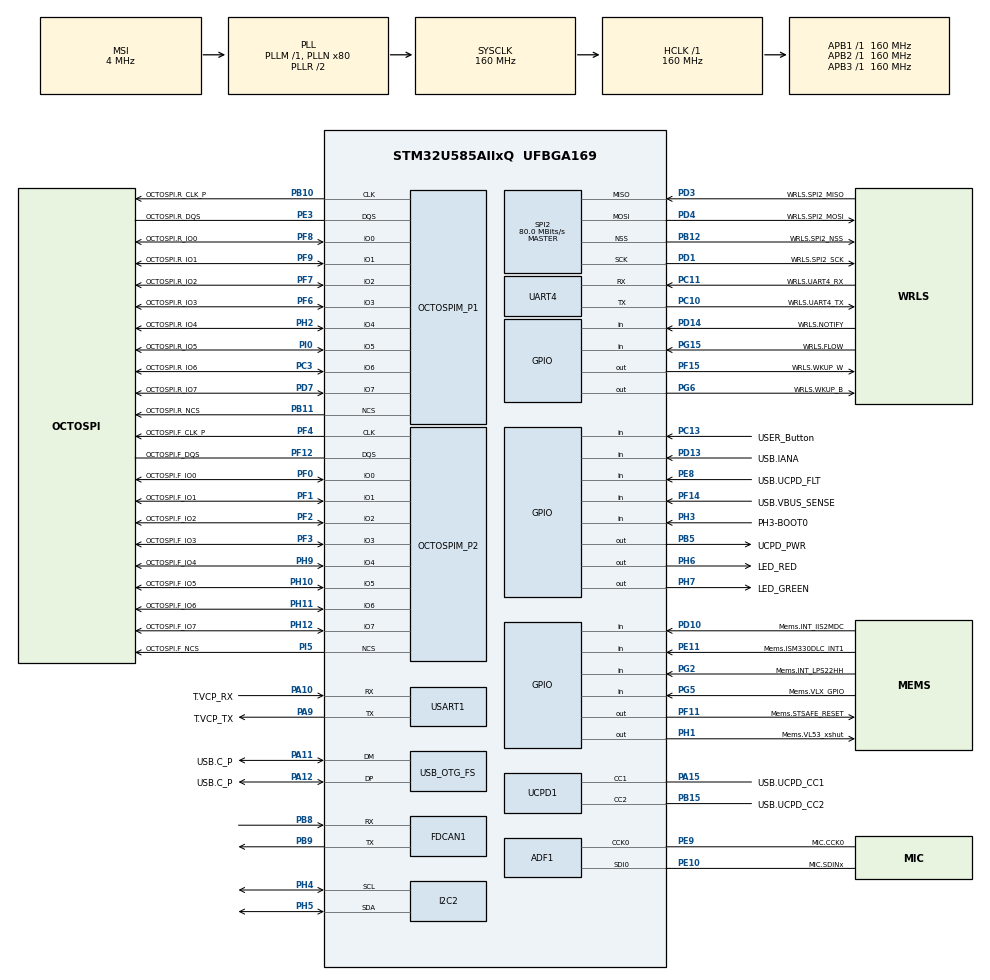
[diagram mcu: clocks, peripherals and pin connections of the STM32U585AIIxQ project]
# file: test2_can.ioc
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CORTEX_M33_NS.userName=CORTEX_M33
FDCAN1.AutoRetransmission=ENABLE
FDCAN1.CalculateBaudRateNominal=3333333
FDCAN1.CalculateTimeBitNominal=300
FDCAN1.CalculateTimeQuantumNominal=100.0
FDCAN1.FrameFormat=FDCAN_FRAME_CLASSIC
I2C2.Timing=0x30909DEC
Mcu.Family=STM32U5
Mcu.Name=STM32U585AIIxQ
Mcu.Package=UFBGA169
NVIC.PriorityGroup=NVIC_PRIORITYGROUP_4
OCTOSPI1.ChipSelectBoundary=10
OCTOSPI1.ClockPrescaler=2
OCTOSPI1.DelayBlockBypass=HAL_OSPI_DELAY_BLOCK_USED
OCTOSPI1.DelayHoldQuarterCycle=HAL_OSPI_DHQC_ENABLE
OCTOSPI1.DeviceSize=23
OCTOSPI1.MemoryType=HAL_OSPI_MEMTYPE_APMEMORY
OCTOSPI1.Refresh=100
OCTOSPI2.ChipSelectBoundary=0
OCTOSPI2.ChipSelectHighTime=2
OCTOSPI2.ClockPrescaler=4
OCTOSPI2.DelayBlockBypass=HAL_OSPI_DELAY_BLOCK_USED
OCTOSPI2.DelayHoldQuarterCycle=HAL_OSPI_DHQC_ENABLE
OCTOSPI2.DeviceSize=26
OCTOSPI2.FifoThreshold=4
OCTOSPI2.MemoryType=HAL_OSPI_MEMTYPE_MACRONIX
PA10.GPIO_Label=T.VCP_RX
PA10.Mode=Asynchronous
PA10.Signal=USART1_RX
PA11.GPIO_Label=USB.C_P
PA11.Mode=Device_Only
PA11.Signal=USB_OTG_FS_DM
PA12.GPIO_Label=USB.C_P
PA12.Mode=Device_Only
PA12.Signal=USB_OTG_FS_DP
PA13\ (JTMS/SWDIO).GPIO_Label=T.SWDIO
PA13\ (JTMS/SWDIO).Mode=Trace_Asynchronous_SW
PA13\ (JTMS/SWDIO).Signal=DEBUG_JTMS-SWDIO
PA14\ (JTCK/SWCLK).GPIO_Label=T.SWCLK
PA14\ (JTCK/SWCLK).Mode=Trace_Asynchronous_SW
PA14\ (JTCK/SWCLK).Signal=DEBUG_JTCK-SWCLK
PA15\ (JTDI).GPIO_Label=USB.UCPD_CC1
PA15\ (JTDI).Mode=Dual_Role_AllSignals
PA15\ (JTDI).Signal=UCPD1_CC1
PA9.GPIO_Label=T.VCP_TX
PA9.Mode=Asynchronous
PA9.Signal=USART1_TX
PB1.GPIO_Label=MIC.SDIN0
PB1.Signal=MDF1_SDI0
PB10.GPIO_Label=OCTOSPI.R_CLK_P
PB10.Mode=O1_P1_CLK
PB10.Signal=OCTOSPIM_P1_CLK
PB11.GPIO_Label=OCTOSPI.R_NCS
PB11.Mode=OCTOSPI1_Port1_NCS
PB11.Signal=OCTOSPIM_P1_NCS
PB12.GPIO_Label=WRLS.SPI2_NSS
PB12.Mode=NSS_Signal_Hard_Output
PB12.Signal=SPI2_NSS
PB15.GPIO_Label=USB.UCPD_CC2
PB15.Mode=Dual_Role_AllSignals
PB15.Signal=UCPD1_CC2
PB3\ (JTDO/TRACESWO).GPIO_Label=T.SWO
PB3\ (JTDO/TRACESWO).Mode=Trace_Asynchronous_SW
PB3\ (JTDO/TRACESWO).Signal=DEBUG_JTDO-SWO
PB5.GPIO_Label=UCPD_PWR
PB5.Signal=GPIO_Output
PB8.Mode=FDCAN_Activate
PB8.Signal=FDCAN1_RX
PB9.Mode=FDCAN_Activate
PB9.Signal=FDCAN1_TX
PC10.GPIO_Label=WRLS.UART4_TX
PC10.Mode=Asynchronous
PC10.Signal=UART4_TX
PC11.GPIO_Label=WRLS.UART4_RX
PC11.Mode=Asynchronous
PC11.Signal=UART4_RX
PC13.GPIO_Label=USER_Button
PC13.Signal=GPIO_Input
PC14-OSC32_IN\ (PC14).GPIO_Label=PC14-OSC32_IN
PC14-OSC32_IN\ (PC14).Mode=LSE-External-Oscillator
PC14-OSC32_IN\ (PC14).Signal=RCC_OSC32_IN
PC15-OSC32_OUT\ (PC15).GPIO_Label=PC15-OSC32_OUT
PC15-OSC32_OUT\ (PC15).Mode=LSE-External-Oscillator
PC15-OSC32_OUT\ (PC15).Signal=RCC_OSC32_OUT
PC3.GPIO_Label=OCTOSPI.R_IO6
PC3.Mode=OCTOSPI1_IOH_Port1H
PC3.Signal=OCTOSPIM_P1_IO6
PD1.GPIO_Label=WRLS.SPI2_SCK
PD1.Mode=Full_Duplex_Master
PD1.Signal=SPI2_SCK
PD10.GPIO_Label=Mems.INT_IIS2MDC
PD10.Signal=GPIO_Input
PD13.GPIO_Label=USB.IANA
PD13.Signal=GPIO_Input
PD14.GPIO_Label=WRLS.NOTIFY
PD14.Signal=GPIO_Input
PD3.GPIO_Label=WRLS.SPI2_MISO
PD3.Mode=Full_Duplex_Master
PD3.Signal=SPI2_MISO
PD4.GPIO_Label=WRLS.SPI2_MOSI
PD4.Mode=Full_Duplex_Master
PD4.Signal=SPI2_MOSI
PD7.GPIO_Label=OCTOSPI.R_IO7
PD7.Mode=OCTOSPI1_IOH_Port1H
PD7.Signal=OCTOSPIM_P1_IO7
PE10.GPIO_Label=MIC.SDINx
PE10.Mode=MOD_ADF_CCK
PE10.Signal=ADF1_SDI0
PE11.GPIO_Label=Mems.ISM330DLC_INT1
PE11.Signal=GPIO_Input
PE3.GPIO_Label=OCTOSPI.R_DQS
PE3.Mode=OCTOSPI1_Port1_DQS
PE3.Signal=OCTOSPIM_P1_DQS
PE8.GPIO_Label=USB.UCPD_FLT
PE8.Signal=GPIO_Input
PE9.GPIO_Label=MIC.CCK0
PE9.Mode=MOD_MDF_CCK0
PE9.Signal=ADF1_CCK0
PF0.GPIO_Label=OCTOSPI.F_IO0
PF0.Mode=OCTOSPI2_IOL_Port2L
PF0.Signal=OCTOSPIM_P2_IO0
PF1.GPIO_Label=OCTOSPI.F_IO1
PF1.Mode=OCTOSPI2_IOL_Port2L
PF1.Signal=OCTOSPIM_P2_IO1
PF10.GPIO_Label=MIC.CCK1
PF10.Signal=MDF1_CCK1
PF11.GPIO_Label=Mems.STSAFE_RESET
PF11.Signal=GPIO_Output
PF12.GPIO_Label=OCTOSPI.F_DQS
PF12.Mode=OCTOSPI2_Port2_DQS
PF12.Signal=OCTOSPIM_P2_DQS
PF14.GPIO_Label=USB.VBUS_SENSE
PF14.Signal=GPIO_Input
PF15.GPIO_Label=WRLS.WKUP_W
PF15.Signal=GPIO_Output
PF2.GPIO_Label=OCTOSPI.F_IO2
PF2.Mode=OCTOSPI2_IOL_Port2L
PF2.Signal=OCTOSPIM_P2_IO2
PF3.GPIO_Label=OCTOSPI.F_IO3
PF3.Mode=OCTOSPI2_IOL_Port2L
PF3.Signal=OCTOSPIM_P2_IO3
PF4.GPIO_Label=OCTOSPI.F_CLK_P
PF4.Mode=O2_P2_CLK
PF4.Signal=OCTOSPIM_P2_CLK
PF6.GPIO_Label=OCTOSPI.R_IO3
PF6.Mode=OCTOSPI1_IOL_Port1L
PF6.Signal=OCTOSPIM_P1_IO3
PF7.GPIO_Label=OCTOSPI.R_IO2
PF7.Mode=OCTOSPI1_IOL_Port1L
PF7.Signal=OCTOSPIM_P1_IO2
PF8.GPIO_Label=OCTOSPI.R_IO0
PF8.Mode=OCTOSPI1_IOL_Port1L
PF8.Signal=OCTOSPIM_P1_IO0
PF9.GPIO_Label=OCTOSPI.R_IO1
PF9.Mode=OCTOSPI1_IOL_Port1L
PF9.Signal=OCTOSPIM_P1_IO1
PG15.GPIO_Label=WRLS.FLOW
PG15.Signal=GPIO_Input
PG2.GPIO_Label=Mems.INT_LPS22HH
PG2.Signal=GPIO_Input
PG5.GPIO_Label=Mems.VLX_GPIO
PG5.Signal=GPIO_Input
PG6.GPIO_Label=WRLS.WKUP_B
PG6.Signal=GPIO_Output
PH1-OSC_OUT\ (PH1).GPIO_Label=Mems.VL53_xshut
PH1-OSC_OUT\ (PH1).Signal=GPIO_Output
PH10.GPIO_Label=OCTOSPI.F_IO5
PH10.Mode=OCTOSPI2_IOH_Port2H
PH10.Signal=OCTOSPIM_P2_IO5
PH11.GPIO_Label=OCTOSPI.F_IO6
PH11.Mode=OCTOSPI2_IOH_Port2H
PH11.Signal=OCTOSPIM_P2_IO6
PH12.GPIO_Label=OCTOSPI.F_IO7
PH12.Mode=OCTOSPI2_IOH_Port2H
PH12.Signal=OCTOSPIM_P2_IO7
PH2.GPIO_Label=OCTOSPI.R_IO4
PH2.Mode=OCTOSPI1_IOH_Port1H
PH2.Signal=OCTOSPIM_P1_IO4
PH3-BOOT0.GPIO_Label=PH3-BOOT0
PH3-BOOT0.Signal=GPIO_Input
PH4.Mode=I2C
PH4.Signal=I2C2_SCL
PH5.Mode=I2C
PH5.Signal=I2C2_SDA
PH6.GPIO_Label=LED_RED
PH6.Signal=GPIO_Output
PH7.GPIO_Label=LED_GREEN
PH7.Signal=GPIO_Output
PH9.GPIO_Label=OCTOSPI.F_IO4
PH9.Mode=OCTOSPI2_IOH_Port2H
PH9.Signal=OCTOSPIM_P2_IO4
PI0.GPIO_Label=OCTOSPI.R_IO5
PI0.Mode=OCTOSPI1_IOH_Port1H
PI0.Signal=OCTOSPIM_P1_IO5
PI5.GPIO_Label=OCTOSPI.F_NCS
PI5.Mode=OCTOSPI2_Port2_NCS
PI5.Signal=OCTOSPIM_P2_NCS
PWR.PowerMode=PWR_SMPS_SUPPLY
ProjectManager.HeapSize=0x200
ProjectManager.StackSize=0x400
ProjectManager.TargetToolchain=STM32CubeIDE
RCC.ADCFreq_Value=16000000
RCC.AHBFreq_Value=160000000
RCC.APB1Freq_Value=160000000
RCC.APB1TimFreq_Value=160000000
RCC.APB2Freq_Value=160000000
RCC.APB2TimFreq_Value=160000000
RCC.APB3Freq_Value=160000000
RCC.CortexFreq_Value=160000000
RCC.DACCLockSelectionVirtual=RCC_DAC1CLKSOURCE_LSI
RCC.EPOD_VALUE=4000000
RCC.HCLKFreq_Value=160000000
RCC.HSE_VALUE=16000000
RCC.HSI48_VALUE=48000000
RCC.HSI_VALUE=16000000
RCC.LSIDIV_VALUE=32000
RCC.MSI_VALUE=4000000
RCC.PLLN=80
RCC.SYSCLKFreq_VALUE=160000000
RCC.SYSCLKSource=RCC_SYSCLKSOURCE_PLLCLK
RCC.USBFreq_Value=48000000
RCC.VCOOutputFreq_Value=320000000
SPI2.CalculateBaudRate=80.0 MBits/s
SPI2.Direction=SPI_DIRECTION_2LINES
SPI2.Mode=SPI_MODE_MASTER
SPI2.VirtualNSS=VM_NSSHARD
SPI2.VirtualType=VM_MASTER
USART1.VirtualMode-Asynchronous=VM_ASYNC
USB_OTG_FS.VirtualMode=Device_Only
VP_ICACHE_VS_ICACHE.Mode=DirectMappedCache
VP_LPBAMQUEUE_VS_QUEUE.Mode=QUEUEMODE
VP_LPBAM_VS_SIG1.Mode=SmartRun
VP_LPBAM_VS_SIG4.Mode=LPDMA1
VP_MEMORYMAP_VS_MEMORYMAP.Mode=CurAppReg
VP_OCTOSPI1_VS_octo.Mode=octo_mode
VP_OCTOSPI2_VS_octo.Mode=octo_mode
VP_PWR_VS_DBSignals.Mode=DisableDeadBatterySignals
VP_PWR_VS_LPOM.Mode=PowerOptimisation
VP_PWR_VS_SECSignals.Mode=Security/Privilege
board=B-U585I-IOT02A

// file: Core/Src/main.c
/* USER CODE BEGIN Header */
/**
  ******************************************************************************
  * @file           : main.c
  * @brief          : Main program body
  ******************************************************************************
  * @attention
  *
  * Copyright (c) 2025 STMicroelectronics.
  * All rights reserved.
  *
  * This software is licensed under terms that can be found in the LICENSE file
  * in the root directory of this software component.
  * If no LICENSE file comes with this software, it is provided AS-IS.
  *
  ******************************************************************************
  */
/* USER CODE END Header */
#include "main.h"

MDF_HandleTypeDef AdfHandle0;
MDF_FilterConfigTypeDef AdfFilterConfig0;

FDCAN_HandleTypeDef hfdcan1;

I2C_HandleTypeDef hi2c2;

OSPI_HandleTypeDef hospi1;
OSPI_HandleTypeDef hospi2;

SPI_HandleTypeDef hspi2;

UART_HandleTypeDef huart4;
UART_HandleTypeDef huart1;

PCD_HandleTypeDef hpcd_USB_OTG_FS;

/* USER CODE BEGIN PV */

FDCAN_FilterTypeDef sFilterConfig;
FDCAN_TxHeaderTypeDef TxHeader;
FDCAN_RxHeaderTypeDef RxHeader;
uint8_t TxData_Node1_To_Node2[] = {0x10, 0x32, 0x54, 0x76, 0x98, 0x00, 0x11, 0x22, 0x33, 0x44, 0x55, 0x66};
uint8_t RxData_From_Node2[12];

volatile uint8_t rxComplete = 0;  // Flag to indicate message received
uint32_t rxMailbox;               // Variable to store which mailbox received message
/* USER CODE END PV */

void SystemClock_Config(void);
static void SystemPower_Config(void);
static void MX_GPIO_Init(void);
static void MX_ADF1_Init(void);
static void MX_I2C2_Init(void);
static void MX_ICACHE_Init(void);
static void MX_OCTOSPI1_Init(void);
static void MX_OCTOSPI2_Init(void);
static void MX_SPI2_Init(void);
static void MX_UART4_Init(void);
static void MX_USART1_UART_Init(void);
static void MX_UCPD1_Init(void);
static void MX_USB_OTG_FS_PCD_Init(void);
static void MX_FDCAN1_Init(void);
/* USER CODE BEGIN PFP */
void FDCAN_Send_Message(uint32_t id, uint8_t *data, uint32_t length);
void FDCAN_Receive_Message(void);
void FDCAN_Send_Test_Pattern(void);  // Send a specific test pattern
void FDCAN_Send_Simple_CAN(uint32_t id, uint8_t *data, uint32_t length); // Simple CAN, not FD
void FDCAN_Diagnostic_Test(void);    // Test if CAN hardware is working
/* USER CODE END PFP */

/* USER CODE BEGIN 0 */

/*
 * FDCAN (Flexible Data-Rate CAN) Setup Summary:
 * ==============================================
 *
 * 1. FDCAN1 is configured in Normal Mode with FD format and Bit Rate Switching
 * 2. A filter is set up to accept messages with ID 0x111 (or any ID with current mask)
 * 3. The system automatically sends test messages every 500ms for scope observation
 * 4. Received messages trigger an interrupt and are processed in the main loop
 *
 * For Oscilloscope/Logic Analyzer Verification:
 * - Messages sent every 500ms with ID 0x123
 * - Test pattern: 0xAA, 0x55, 0xFF, 0x00, etc. (easy to identify)
 * - First byte increments each transmission (counter)
 * - Second byte is complement of counter
 * - Connect scope to CAN_H and CAN_L pins
 * - Expect to see differential signal with CAN protocol timing
 * - Bit rate: Nominal phase ~125 kbps, Data phase higher (BRS enabled)
 *
 * Key Functions:
 * - FDCAN_Send_Message(id, data, length): Send a CAN FD message
 * - FDCAN_Send_Test_Pattern(): Send distinctive test pattern (ID 0x7FF)
 * - FDCAN_Receive_Message(): Process received messages
 * - HAL_FDCAN_RxFifo0Callback(): Interrupt callback for new messages
 */

/* USER CODE END 0 */

int main(void)
{

  /* MCU Configuration--------------------------------------------------------*/

  /* Reset of all peripherals, Initializes the Flash interface and the Systick. */
  HAL_Init();

  /* Configure the System Power */
  SystemPower_Config();

  /* Configure the system clock */
  SystemClock_Config();

  /* Initialize all configured peripherals */
  MX_GPIO_Init();
  MX_ADF1_Init();
  MX_I2C2_Init();
  MX_ICACHE_Init();
  MX_OCTOSPI1_Init();
  MX_OCTOSPI2_Init();
  MX_SPI2_Init();
  MX_UART4_Init();
  MX_USART1_UART_Init();
  MX_UCPD1_Init();
  MX_USB_OTG_FS_PCD_Init();
  MX_FDCAN1_Init();
  /* USER CODE BEGIN 2 */
  /* quick debug note to confirm FDCAN init returned */
  HAL_UART_Transmit(&huart1, (uint8_t*)"After MX_FDCAN1_Init\r\n", strlen("After MX_FDCAN1_Init\r\n"), HAL_MAX_DELAY);
  /* USER CODE BEGIN 2 */
  const char *msg_tick = "Tick\r\n";
  /* Query and print protocol status (helps detect Bus-Off etc.) */
  {
    FDCAN_ProtocolStatusTypeDef pstat;
    if (HAL_FDCAN_GetProtocolStatus(&hfdcan1, &pstat) == HAL_OK)
    {
      char pbuf[64];
      sprintf(pbuf, "FDCAN PS: BusOff=%u EP=%u LastErr=%u\r\n", (unsigned)pstat.BusOff, (unsigned)pstat.ErrorPassive, (unsigned)pstat.LastErrorCode);
      HAL_UART_Transmit(&huart1, (uint8_t*)pbuf, strlen(pbuf), HAL_MAX_DELAY);
    }
  }
  /* Activate notification for RX FIFO0 (idempotent) */
  HAL_FDCAN_ActivateNotification(&hfdcan1, FDCAN_IT_RX_FIFO0_NEW_MESSAGE, 0);

  FDCAN_TxHeaderTypeDef TxHeader;

  uint8_t TxData[8] = { 'A', 'B', 'C', 'D', 'E', 'F', 'G', 'H' };

  TxHeader.Identifier = 0x123;
  TxHeader.IdType = FDCAN_STANDARD_ID;
  TxHeader.TxFrameType = FDCAN_DATA_FRAME;
  TxHeader.DataLength = FDCAN_DLC_BYTES_8;
  TxHeader.ErrorStateIndicator = FDCAN_ESI_ACTIVE;
  TxHeader.BitRateSwitch = FDCAN_BRS_OFF;
  TxHeader.FDFormat = FDCAN_CLASSIC_CAN;
  TxHeader.TxEventFifoControl = FDCAN_NO_TX_EVENTS;
  TxHeader.MessageMarker = 0;

  FDCAN_RxHeaderTypeDef rxHeader;
  uint8_t rxData[8];

  /* USER CODE END 2 */

  /* Infinite loop */
  while (1)
  {

    /* USER CODE BEGIN 3 */
  /* Periodic heartbeat on UART */
  HAL_UART_Transmit(&huart1, (uint8_t*)msg_tick, strlen(msg_tick), HAL_MAX_DELAY);
  /* Queue a CAN frame; keep the controller running (do NOT Stop/Start here) */
  if (HAL_FDCAN_AddMessageToTxFifoQ(&hfdcan1, &TxHeader, TxData) == HAL_OK)
  {
    HAL_GPIO_TogglePin(LED_GREEN_GPIO_Port, LED_GREEN_Pin);  // blink to show sending
    HAL_UART_Transmit(&huart1, (uint8_t*)"TX queued\r\n", strlen("TX queued\r\n"), HAL_MAX_DELAY);
  }
  else
  {
    char dbuf[128];
    uint32_t free = HAL_FDCAN_GetTxFifoFreeLevel(&hfdcan1);
    FDCAN_ProtocolStatusTypeDef pstat;
    if (HAL_FDCAN_GetProtocolStatus(&hfdcan1, &pstat) == HAL_OK)
    {
      sprintf(dbuf, "TX FAIL free=%lu BusOff=%u LastErr=%u\r\n", (unsigned long)free, (unsigned)pstat.BusOff, (unsigned)pstat.LastErrorCode);
    }
    else
    {
      sprintf(dbuf, "TX FAIL free=%lu ProtocolStatusErr\r\n", (unsigned long)free);
    }
    HAL_UART_Transmit(&huart1, (uint8_t*)dbuf, strlen(dbuf), HAL_MAX_DELAY);
  }
  HAL_Delay(1000);
  /* Simple RX polling: if a message is waiting in FIFO0, read it, toggle LED and print a short debug message */
  if (HAL_FDCAN_GetRxFifoFillLevel(&hfdcan1, FDCAN_RX_FIFO0) > 0)
  {
    if (HAL_FDCAN_GetRxMessage(&hfdcan1, FDCAN_RX_FIFO0, &rxHeader, rxData) == HAL_OK)
    {
      HAL_GPIO_TogglePin(LED_RED_GPIO_Port, LED_RED_Pin);
      /* Print received CAN message: ID, DLC and data bytes in hex */
      char rbuf[128];
      const char *idtype = (rxHeader.IdType == FDCAN_STANDARD_ID) ? "STD" : "EXT";
      unsigned int dlc = 0;
      /* Map DataLength enum to actual byte count (common values 0..8) */
      switch (rxHeader.DataLength)
      {
        case FDCAN_DLC_BYTES_0: dlc = 0; break;
        case FDCAN_DLC_BYTES_1: dlc = 1; break;
        case FDCAN_DLC_BYTES_2: dlc = 2; break;
        case FDCAN_DLC_BYTES_3: dlc = 3; break;
        case FDCAN_DLC_BYTES_4: dlc = 4; break;
        case FDCAN_DLC_BYTES_5: dlc = 5; break;
        case FDCAN_DLC_BYTES_6: dlc = 6; break;
        case FDCAN_DLC_BYTES_7: dlc = 7; break;
        case FDCAN_DLC_BYTES_8: dlc = 8; break;
        default: dlc = 8; break;
      }
      int pos = sprintf(rbuf, "RX %s ID=0x%lX DLC=%u DATA=", idtype, (unsigned long)rxHeader.Identifier, dlc);
      for (unsigned int i = 0; i < dlc && i < sizeof(rxData); ++i)
      {
        pos += sprintf(rbuf + pos, "%02X%s", rxData[i], (i+1<dlc) ? " " : "");
      }
      /* Append ASCII representation (printable chars or '.' for non-printable) */
      pos += sprintf(rbuf + pos, "  ASCII=\"");
      for (unsigned int i = 0; i < dlc && i < sizeof(rxData); ++i)
      {
        unsigned char c = rxData[i];
        rbuf[pos++] = (isprint(c) ? (char)c : '.');
      }
      pos += sprintf(rbuf + pos, "\"\r\n");
      HAL_UART_Transmit(&huart1, (uint8_t*)rbuf, pos, HAL_MAX_DELAY);
    }
  }

  HAL_Delay(1000);

  }
  /* USER CODE END 3 */
}

void SystemClock_Config(void)
{
  RCC_OscInitTypeDef RCC_OscInitStruct = {0};
  RCC_ClkInitTypeDef RCC_ClkInitStruct = {0};

  /** Configure the main internal regulator output voltage
  */
  if (HAL_PWREx_ControlVoltageScaling(PWR_REGULATOR_VOLTAGE_SCALE1) != HAL_OK)
  {
    Error_Handler();
  }

  /** Initializes the CPU, AHB and APB buses clocks
  */
  RCC_OscInitStruct.OscillatorType = RCC_OSCILLATORTYPE_HSI48|RCC_OSCILLATORTYPE_HSI
                              |RCC_OSCILLATORTYPE_MSI;
  RCC_OscInitStruct.HSIState = RCC_HSI_ON;
  RCC_OscInitStruct.HSI48State = RCC_HSI48_ON;
  RCC_OscInitStruct.HSICalibrationValue = RCC_HSICALIBRATION_DEFAULT;
  RCC_OscInitStruct.MSIState = RCC_MSI_ON;
  RCC_OscInitStruct.MSICalibrationValue = RCC_MSICALIBRATION_DEFAULT;
  RCC_OscInitStruct.MSIClockRange = RCC_MSIRANGE_4;
  RCC_OscInitStruct.PLL.PLLState = RCC_PLL_ON;
  RCC_OscInitStruct.PLL.PLLSource = RCC_PLLSOURCE_MSI;
  RCC_OscInitStruct.PLL.PLLMBOOST = RCC_PLLMBOOST_DIV1;
  RCC_OscInitStruct.PLL.PLLM = 1;
  RCC_OscInitStruct.PLL.PLLN = 80;
  RCC_OscInitStruct.PLL.PLLP = 2;
  RCC_OscInitStruct.PLL.PLLQ = 2;
  RCC_OscInitStruct.PLL.PLLR = 2;
  RCC_OscInitStruct.PLL.PLLRGE = RCC_PLLVCIRANGE_0;
  RCC_OscInitStruct.PLL.PLLFRACN = 0;
  if (HAL_RCC_OscConfig(&RCC_OscInitStruct) != HAL_OK)
  {
    Error_Handler();
  }

  /** Initializes the CPU, AHB and APB buses clocks
  */
  RCC_ClkInitStruct.ClockType = RCC_CLOCKTYPE_HCLK|RCC_CLOCKTYPE_SYSCLK
                              |RCC_CLOCKTYPE_PCLK1|RCC_CLOCKTYPE_PCLK2
                              |RCC_CLOCKTYPE_PCLK3;
  RCC_ClkInitStruct.SYSCLKSource = RCC_SYSCLKSOURCE_PLLCLK;
  RCC_ClkInitStruct.AHBCLKDivider = RCC_SYSCLK_DIV1;
  RCC_ClkInitStruct.APB1CLKDivider = RCC_HCLK_DIV1;
  RCC_ClkInitStruct.APB2CLKDivider = RCC_HCLK_DIV1;
  RCC_ClkInitStruct.APB3CLKDivider = RCC_HCLK_DIV1;

  if (HAL_RCC_ClockConfig(&RCC_ClkInitStruct, FLASH_LATENCY_4) != HAL_OK)
  {
    Error_Handler();
  }
}

/**
  * @brief Power Configuration
  * @retval None
  */
static void SystemPower_Config(void)
{
  HAL_PWREx_EnableVddIO2();

  /*
   * Switch to SMPS regulator instead of LDO
   */
  if (HAL_PWREx_ConfigSupply(PWR_SMPS_SUPPLY) != HAL_OK)
  {
    Error_Handler();
  }
}

static void MX_ADF1_Init(void)
{

  /**
    AdfHandle0 structure initialization and HAL_MDF_Init function call
  */
  AdfHandle0.Instance = ADF1_Filter0;
  AdfHandle0.Init.CommonParam.ProcClockDivider = 1;
  AdfHandle0.Init.CommonParam.OutputClock.Activation = DISABLE;
  AdfHandle0.Init.SerialInterface.Activation = ENABLE;
  AdfHandle0.Init.SerialInterface.Mode = MDF_SITF_LF_MASTER_SPI_MODE;
  AdfHandle0.Init.SerialInterface.ClockSource = MDF_SITF_CCK0_SOURCE;
  AdfHandle0.Init.SerialInterface.Threshold = 4;
  AdfHandle0.Init.FilterBistream = MDF_BITSTREAM0_FALLING;
  if (HAL_MDF_Init(&AdfHandle0) != HAL_OK)
  {
    Error_Handler();
  }

  /**
    AdfFilterConfig0 structure initialization

    WARNING : only structure is filled, no specific init function call for filter
  */
  AdfFilterConfig0.DataSource = MDF_DATA_SOURCE_BSMX;
  AdfFilterConfig0.Delay = 0;
  AdfFilterConfig0.CicMode = MDF_ONE_FILTER_SINC4;
  AdfFilterConfig0.DecimationRatio = 2;
  AdfFilterConfig0.Gain = 0;
  AdfFilterConfig0.ReshapeFilter.Activation = DISABLE;
  AdfFilterConfig0.HighPassFilter.Activation = DISABLE;
  AdfFilterConfig0.SoundActivity.Activation = DISABLE;
  AdfFilterConfig0.AcquisitionMode = MDF_MODE_ASYNC_CONT;
  AdfFilterConfig0.FifoThreshold = MDF_FIFO_THRESHOLD_NOT_EMPTY;
  AdfFilterConfig0.DiscardSamples = 0;

}

static void MX_FDCAN1_Init(void)
{

  hfdcan1.Instance = FDCAN1;
  hfdcan1.Init.ClockDivider = FDCAN_CLOCK_DIV1;
  hfdcan1.Init.FrameFormat = FDCAN_FRAME_CLASSIC;
  hfdcan1.Init.Mode = FDCAN_MODE_NORMAL;
  hfdcan1.Init.AutoRetransmission = ENABLE;
  hfdcan1.Init.TransmitPause = DISABLE;
  hfdcan1.Init.ProtocolException = DISABLE;
  hfdcan1.Init.NominalPrescaler = 20;    // Changed for more standard 125kbps
  hfdcan1.Init.NominalSyncJumpWidth = 1;
  hfdcan1.Init.NominalTimeSeg1 = 13;     // Changed for proper bit timing
  hfdcan1.Init.NominalTimeSeg2 = 2;      // Changed for proper bit timing
  hfdcan1.Init.DataPrescaler = 20;       // Data phase same as nominal for classic CAN
  hfdcan1.Init.DataSyncJumpWidth = 1;
  hfdcan1.Init.DataTimeSeg1 = 13;        // Data phase same as nominal
  hfdcan1.Init.DataTimeSeg2 = 2;         // Data phase same as nominal
  hfdcan1.Init.StdFiltersNbr = 1;  // Need at least 1 filter if configuring filters
  hfdcan1.Init.ExtFiltersNbr = 0;
  hfdcan1.Init.TxFifoQueueMode = FDCAN_TX_FIFO_OPERATION;
  if (HAL_FDCAN_Init(&hfdcan1) != HAL_OK)
  {
    Error_Handler();
  }
  /* USER CODE BEGIN FDCAN1_Init 2 */

  /* Simple test: try different filter configurations */
  /* Option 1: Accept all standard messages */
  sFilterConfig.IdType = FDCAN_STANDARD_ID;
  sFilterConfig.FilterIndex = 0;
  sFilterConfig.FilterType = FDCAN_FILTER_MASK;
  sFilterConfig.FilterConfig = FDCAN_FILTER_TO_RXFIFO0;
  sFilterConfig.FilterID1 = 0x000;    // ID to match
  sFilterConfig.FilterID2 = 0x000;    // Mask (0x000 = accept all)

  if (HAL_FDCAN_ConfigFilter(&hfdcan1, &sFilterConfig) != HAL_OK)
  {
    // Filter config failed - indicate with LED
    HAL_GPIO_WritePin(LED_RED_GPIO_Port, LED_RED_Pin, GPIO_PIN_SET);
    HAL_Delay(1000);
    HAL_GPIO_WritePin(LED_RED_GPIO_Port, LED_RED_Pin, GPIO_PIN_RESET);
  }

  /* Configure Global Filter - be permissive for testing */
  if (HAL_FDCAN_ConfigGlobalFilter(&hfdcan1, FDCAN_ACCEPT_IN_RX_FIFO0, FDCAN_ACCEPT_IN_RX_FIFO0, FDCAN_FILTER_REMOTE, FDCAN_FILTER_REMOTE) != HAL_OK)
  {
    // Global filter failed
    HAL_GPIO_WritePin(LED_RED_GPIO_Port, LED_RED_Pin, GPIO_PIN_SET);
    HAL_Delay(2000);
    HAL_GPIO_WritePin(LED_RED_GPIO_Port, LED_RED_Pin, GPIO_PIN_RESET);
  }

  /* Start the FDCAN module */
  if (HAL_FDCAN_Start(&hfdcan1) != HAL_OK)
  {
    // Start failed - indicate with LED
    HAL_GPIO_WritePin(LED_RED_GPIO_Port, LED_RED_Pin, GPIO_PIN_SET);
    HAL_Delay(3000);
    HAL_GPIO_WritePin(LED_RED_GPIO_Port, LED_RED_Pin, GPIO_PIN_RESET);
  }
  else
  {
    // Start successful - quick green flash
    HAL_GPIO_WritePin(LED_GREEN_GPIO_Port, LED_GREEN_Pin, GPIO_PIN_SET);
    HAL_Delay(200);
    HAL_GPIO_WritePin(LED_GREEN_GPIO_Port, LED_GREEN_Pin, GPIO_PIN_RESET);
  }

  HAL_FDCAN_ActivateNotification(&hfdcan1, FDCAN_IT_RX_FIFO0_NEW_MESSAGE, 0);

  /* USER CODE END FDCAN1_Init 2 */

}

static void MX_I2C2_Init(void)
{

  hi2c2.Instance = I2C2;
  hi2c2.Init.Timing = 0x30909DEC;
  hi2c2.Init.OwnAddress1 = 0;
  hi2c2.Init.AddressingMode = I2C_ADDRESSINGMODE_7BIT;
  hi2c2.Init.DualAddressMode = I2C_DUALADDRESS_DISABLE;
  hi2c2.Init.OwnAddress2 = 0;
  hi2c2.Init.OwnAddress2Masks = I2C_OA2_NOMASK;
  hi2c2.Init.GeneralCallMode = I2C_GENERALCALL_DISABLE;
  hi2c2.Init.NoStretchMode = I2C_NOSTRETCH_DISABLE;
  if (HAL_I2C_Init(&hi2c2) != HAL_OK)
  {
    Error_Handler();
  }

  /** Configure Analogue filter
  */
  if (HAL_I2CEx_ConfigAnalogFilter(&hi2c2, I2C_ANALOGFILTER_ENABLE) != HAL_OK)
  {
    Error_Handler();
  }

  /** Configure Digital filter
  */
  if (HAL_I2CEx_ConfigDigitalFilter(&hi2c2, 0) != HAL_OK)
  {
    Error_Handler();
  }

}

static void MX_ICACHE_Init(void)
{

  /** Enable instruction cache in 1-way (direct mapped cache)
  */
  if (HAL_ICACHE_ConfigAssociativityMode(ICACHE_1WAY) != HAL_OK)
  {
    Error_Handler();
  }
  if (HAL_ICACHE_Enable() != HAL_OK)
  {
    Error_Handler();
  }

}

static void MX_OCTOSPI1_Init(void)
{

  OSPIM_CfgTypeDef sOspiManagerCfg = {0};
  HAL_OSPI_DLYB_CfgTypeDef HAL_OSPI_DLYB_Cfg_Struct = {0};

  /* OCTOSPI1 parameter configuration*/
  hospi1.Instance = OCTOSPI1;
  hospi1.Init.FifoThreshold = 1;
  hospi1.Init.DualQuad = HAL_OSPI_DUALQUAD_DISABLE;
  hospi1.Init.MemoryType = HAL_OSPI_MEMTYPE_APMEMORY;
  hospi1.Init.DeviceSize = 23;
  hospi1.Init.ChipSelectHighTime = 1;
  hospi1.Init.FreeRunningClock = HAL_OSPI_FREERUNCLK_DISABLE;
  hospi1.Init.ClockMode = HAL_OSPI_CLOCK_MODE_0;
  hospi1.Init.WrapSize = HAL_OSPI_WRAP_NOT_SUPPORTED;
  hospi1.Init.ClockPrescaler = 2;
  hospi1.Init.SampleShifting = HAL_OSPI_SAMPLE_SHIFTING_NONE;
  hospi1.Init.DelayHoldQuarterCycle = HAL_OSPI_DHQC_ENABLE;
  hospi1.Init.ChipSelectBoundary = 10;
  hospi1.Init.DelayBlockBypass = HAL_OSPI_DELAY_BLOCK_USED;
  hospi1.Init.MaxTran = 0;
  hospi1.Init.Refresh = 100;
  if (HAL_OSPI_Init(&hospi1) != HAL_OK)
  {
    Error_Handler();
  }
  sOspiManagerCfg.ClkPort = 1;
  sOspiManagerCfg.DQSPort = 1;
  sOspiManagerCfg.NCSPort = 1;
  sOspiManagerCfg.IOLowPort = HAL_OSPIM_IOPORT_1_LOW;
  sOspiManagerCfg.IOHighPort = HAL_OSPIM_IOPORT_1_HIGH;
  if (HAL_OSPIM_Config(&hospi1, &sOspiManagerCfg, HAL_OSPI_TIMEOUT_DEFAULT_VALUE) != HAL_OK)
  {
    Error_Handler();
  }
  HAL_OSPI_DLYB_Cfg_Struct.Units = 0;
  HAL_OSPI_DLYB_Cfg_Struct.PhaseSel = 0;
  if (HAL_OSPI_DLYB_SetConfig(&hospi1, &HAL_OSPI_DLYB_Cfg_Struct) != HAL_OK)
  {
    Error_Handler();
  }

}

static void MX_OCTOSPI2_Init(void)
{

  OSPIM_CfgTypeDef sOspiManagerCfg = {0};
  HAL_OSPI_DLYB_CfgTypeDef HAL_OSPI_DLYB_Cfg_Struct = {0};

  /* OCTOSPI2 parameter configuration*/
  hospi2.Instance = OCTOSPI2;
  hospi2.Init.FifoThreshold = 4;
  hospi2.Init.DualQuad = HAL_OSPI_DUALQUAD_DISABLE;
  hospi2.Init.MemoryType = HAL_OSPI_MEMTYPE_MACRONIX;
  hospi2.Init.DeviceSize = 26;
  hospi2.Init.ChipSelectHighTime = 2;
  hospi2.Init.FreeRunningClock = HAL_OSPI_FREERUNCLK_DISABLE;
  hospi2.Init.ClockMode = HAL_OSPI_CLOCK_MODE_0;
  hospi2.Init.WrapSize = HAL_OSPI_WRAP_NOT_SUPPORTED;
  hospi2.Init.ClockPrescaler = 4;
  hospi2.Init.SampleShifting = HAL_OSPI_SAMPLE_SHIFTING_NONE;
  hospi2.Init.DelayHoldQuarterCycle = HAL_OSPI_DHQC_ENABLE;
  hospi2.Init.ChipSelectBoundary = 0;
  hospi2.Init.DelayBlockBypass = HAL_OSPI_DELAY_BLOCK_USED;
  hospi2.Init.MaxTran = 0;
  hospi2.Init.Refresh = 0;
  if (HAL_OSPI_Init(&hospi2) != HAL_OK)
  {
    Error_Handler();
  }
  sOspiManagerCfg.ClkPort = 2;
  sOspiManagerCfg.DQSPort = 2;
  sOspiManagerCfg.NCSPort = 2;
  sOspiManagerCfg.IOLowPort = HAL_OSPIM_IOPORT_2_LOW;
  sOspiManagerCfg.IOHighPort = HAL_OSPIM_IOPORT_2_HIGH;
  if (HAL_OSPIM_Config(&hospi2, &sOspiManagerCfg, HAL_OSPI_TIMEOUT_DEFAULT_VALUE) != HAL_OK)
  {
    Error_Handler();
  }
  HAL_OSPI_DLYB_Cfg_Struct.Units = 0;
  HAL_OSPI_DLYB_Cfg_Struct.PhaseSel = 0;
  if (HAL_OSPI_DLYB_SetConfig(&hospi2, &HAL_OSPI_DLYB_Cfg_Struct) != HAL_OK)
  {
    Error_Handler();
  }

}

static void MX_SPI2_Init(void)
{

  SPI_AutonomousModeConfTypeDef HAL_SPI_AutonomousMode_Cfg_Struct = {0};

  /* SPI2 parameter configuration*/
  hspi2.Instance = SPI2;
  hspi2.Init.Mode = SPI_MODE_MASTER;
  hspi2.Init.Direction = SPI_DIRECTION_2LINES;
  hspi2.Init.DataSize = SPI_DATASIZE_4BIT;
  hspi2.Init.CLKPolarity = SPI_POLARITY_LOW;
  hspi2.Init.CLKPhase = SPI_PHASE_1EDGE;
  hspi2.Init.NSS = SPI_NSS_HARD_OUTPUT;
  hspi2.Init.BaudRatePrescaler = SPI_BAUDRATEPRESCALER_2;
  hspi2.Init.FirstBit = SPI_FIRSTBIT_MSB;
  hspi2.Init.TIMode = SPI_TIMODE_DISABLE;
  hspi2.Init.CRCCalculation = SPI_CRCCALCULATION_DISABLE;
  hspi2.Init.CRCPolynomial = 0x7;
  hspi2.Init.NSSPMode = SPI_NSS_PULSE_ENABLE;
  hspi2.Init.NSSPolarity = SPI_NSS_POLARITY_LOW;
  hspi2.Init.FifoThreshold = SPI_FIFO_THRESHOLD_01DATA;
  hspi2.Init.MasterSSIdleness = SPI_MASTER_SS_IDLENESS_00CYCLE;
  hspi2.Init.MasterInterDataIdleness = SPI_MASTER_INTERDATA_IDLENESS_00CYCLE;
  hspi2.Init.MasterReceiverAutoSusp = SPI_MASTER_RX_AUTOSUSP_DISABLE;
  hspi2.Init.MasterKeepIOState = SPI_MASTER_KEEP_IO_STATE_DISABLE;
  hspi2.Init.IOSwap = SPI_IO_SWAP_DISABLE;
  hspi2.Init.ReadyMasterManagement = SPI_RDY_MASTER_MANAGEMENT_INTERNALLY;
  hspi2.Init.ReadyPolarity = SPI_RDY_POLARITY_HIGH;
  if (HAL_SPI_Init(&hspi2) != HAL_OK)
  {
    Error_Handler();
  }
  HAL_SPI_AutonomousMode_Cfg_Struct.TriggerState = SPI_AUTO_MODE_DISABLE;
  HAL_SPI_AutonomousMode_Cfg_Struct.TriggerSelection = SPI_GRP1_GPDMA_CH0_TCF_TRG;
  HAL_SPI_AutonomousMode_Cfg_Struct.TriggerPolarity = SPI_TRIG_POLARITY_RISING;
  if (HAL_SPIEx_SetConfigAutonomousMode(&hspi2, &HAL_SPI_AutonomousMode_Cfg_Struct) != HAL_OK)
  {
    Error_Handler();
  }

}

static void MX_UART4_Init(void)
{

  huart4.Instance = UART4;
  huart4.Init.BaudRate = 115200;
  huart4.Init.WordLength = UART_WORDLENGTH_8B;
  huart4.Init.StopBits = UART_STOPBITS_1;
  huart4.Init.Parity = UART_PARITY_NONE;
  huart4.Init.Mode = UART_MODE_TX_RX;
  huart4.Init.HwFlowCtl = UART_HWCONTROL_NONE;
  huart4.Init.OverSampling = UART_OVERSAMPLING_16;
  huart4.Init.OneBitSampling = UART_ONE_BIT_SAMPLE_DISABLE;
  huart4.Init.ClockPrescaler = UART_PRESCALER_DIV1;
  huart4.AdvancedInit.AdvFeatureInit = UART_ADVFEATURE_NO_INIT;
  if (HAL_UART_Init(&huart4) != HAL_OK)
  {
    Error_Handler();
  }
  if (HAL_UARTEx_SetTxFifoThreshold(&huart4, UART_TXFIFO_THRESHOLD_1_8) != HAL_OK)
  {
    Error_Handler();
  }
  if (HAL_UARTEx_SetRxFifoThreshold(&huart4, UART_RXFIFO_THRESHOLD_1_8) != HAL_OK)
  {
    Error_Handler();
  }
  if (HAL_UARTEx_DisableFifoMode(&huart4) != HAL_OK)
  {
    Error_Handler();
  }

}

static void MX_USART1_UART_Init(void)
{

  huart1.Instance = USART1;
  huart1.Init.BaudRate = 115200;
  huart1.Init.WordLength = UART_WORDLENGTH_8B;
  huart1.Init.StopBits = UART_STOPBITS_1;
  huart1.Init.Parity = UART_PARITY_NONE;
  huart1.Init.Mode = UART_MODE_TX_RX;
  huart1.Init.HwFlowCtl = UART_HWCONTROL_NONE;
  huart1.Init.OverSampling = UART_OVERSAMPLING_16;
  huart1.Init.OneBitSampling = UART_ONE_BIT_SAMPLE_DISABLE;
  huart1.Init.ClockPrescaler = UART_PRESCALER_DIV1;
  huart1.AdvancedInit.AdvFeatureInit = UART_ADVFEATURE_NO_INIT;
  if (HAL_UART_Init(&huart1) != HAL_OK)
  {
    Error_Handler();
  }
  if (HAL_UARTEx_SetTxFifoThreshold(&huart1, UART_TXFIFO_THRESHOLD_1_8) != HAL_OK)
  {
    Error_Handler();
  }
  if (HAL_UARTEx_SetRxFifoThreshold(&huart1, UART_RXFIFO_THRESHOLD_1_8) != HAL_OK)
  {
    Error_Handler();
  }
  if (HAL_UARTEx_DisableFifoMode(&huart1) != HAL_OK)
  {
    Error_Handler();
  }

}

static void MX_UCPD1_Init(void)
{

  LL_GPIO_InitTypeDef GPIO_InitStruct = {0};

  /* Peripheral clock enable */
  LL_APB1_GRP2_EnableClock(LL_APB1_GRP2_PERIPH_UCPD1);

  LL_AHB2_GRP1_EnableClock(LL_AHB2_GRP1_PERIPH_GPIOA);
  LL_AHB2_GRP1_EnableClock(LL_AHB2_GRP1_PERIPH_GPIOB);
  /**UCPD1 GPIO Configuration
  PA15 (JTDI)   ------> UCPD1_CC1
  PB15   ------> UCPD1_CC2
  */
  GPIO_InitStruct.Pin = LL_GPIO_PIN_15;
  GPIO_InitStruct.Mode = LL_GPIO_MODE_ANALOG;
  GPIO_InitStruct.Pull = LL_GPIO_PULL_NO;
  LL_GPIO_Init(GPIOA, &GPIO_InitStruct);

  GPIO_InitStruct.Pin = LL_GPIO_PIN_15;
  GPIO_InitStruct.Mode = LL_GPIO_MODE_ANALOG;
  GPIO_InitStruct.Pull = LL_GPIO_PULL_NO;
  LL_GPIO_Init(GPIOB, &GPIO_InitStruct);

}

static void MX_USB_OTG_FS_PCD_Init(void)
{

  hpcd_USB_OTG_FS.Instance = USB_OTG_FS;
  hpcd_USB_OTG_FS.Init.dev_endpoints = 6;
  hpcd_USB_OTG_FS.Init.speed = PCD_SPEED_FULL;
  hpcd_USB_OTG_FS.Init.phy_itface = PCD_PHY_EMBEDDED;
  hpcd_USB_OTG_FS.Init.Sof_enable = DISABLE;
  hpcd_USB_OTG_FS.Init.low_power_enable = DISABLE;
  hpcd_USB_OTG_FS.Init.lpm_enable = DISABLE;
  hpcd_USB_OTG_FS.Init.battery_charging_enable = DISABLE;
  hpcd_USB_OTG_FS.Init.use_dedicated_ep1 = DISABLE;
  hpcd_USB_OTG_FS.Init.vbus_sensing_enable = DISABLE;
  hpcd_USB_OTG_FS.Init.dma_enable = DISABLE;
  if (HAL_PCD_Init(&hpcd_USB_OTG_FS) != HAL_OK)
  {
    Error_Handler();
  }

}

static void MX_GPIO_Init(void)
{
  GPIO_InitTypeDef GPIO_InitStruct = {0};

  /* GPIO Ports Clock Enable */
  __HAL_RCC_GPIOG_CLK_ENABLE();
  __HAL_RCC_GPIOC_CLK_ENABLE();
  __HAL_RCC_GPIOA_CLK_ENABLE();
  __HAL_RCC_GPIOI_CLK_ENABLE();
  __HAL_RCC_GPIOH_CLK_ENABLE();
  __HAL_RCC_GPIOB_CLK_ENABLE();
  __HAL_RCC_GPIOD_CLK_ENABLE();
  __HAL_RCC_GPIOE_CLK_ENABLE();
  __HAL_RCC_GPIOF_CLK_ENABLE();

  /*Configure GPIO pin Output Level */
  HAL_GPIO_WritePin(UCPD_PWR_GPIO_Port, UCPD_PWR_Pin, GPIO_PIN_RESET);

  /*Configure GPIO pin Output Level */
  HAL_GPIO_WritePin(GPIOH, LED_RED_Pin|LED_GREEN_Pin|Mems_VL53_xshut_Pin, GPIO_PIN_RESET);

  /*Configure GPIO pin Output Level */
  HAL_GPIO_WritePin(WRLS_WKUP_B_GPIO_Port, WRLS_WKUP_B_Pin, GPIO_PIN_RESET);

  /*Configure GPIO pin Output Level */
  HAL_GPIO_WritePin(GPIOF, Mems_STSAFE_RESET_Pin|WRLS_WKUP_W_Pin, GPIO_PIN_RESET);

  /*Configure GPIO pins : WRLS_FLOW_Pin Mems_VLX_GPIO_Pin Mems_INT_LPS22HH_Pin */
  GPIO_InitStruct.Pin = WRLS_FLOW_Pin|Mems_VLX_GPIO_Pin|Mems_INT_LPS22HH_Pin;
  GPIO_InitStruct.Mode = GPIO_MODE_INPUT;
  GPIO_InitStruct.Pull = GPIO_NOPULL;
  HAL_GPIO_Init(GPIOG, &GPIO_InitStruct);

  /*Configure GPIO pin : PH3_BOOT0_Pin */
  GPIO_InitStruct.Pin = PH3_BOOT0_Pin;
  GPIO_InitStruct.Mode = GPIO_MODE_INPUT;
  GPIO_InitStruct.Pull = GPIO_NOPULL;
  HAL_GPIO_Init(PH3_BOOT0_GPIO_Port, &GPIO_InitStruct);

  /*Configure GPIO pin : UCPD_PWR_Pin */
  GPIO_InitStruct.Pin = UCPD_PWR_Pin;
  GPIO_InitStruct.Mode = GPIO_MODE_OUTPUT_PP;
  GPIO_InitStruct.Pull = GPIO_NOPULL;
  GPIO_InitStruct.Speed = GPIO_SPEED_FREQ_LOW;
  HAL_GPIO_Init(UCPD_PWR_GPIO_Port, &GPIO_InitStruct);

  /*Configure GPIO pin : USER_Button_Pin */
  GPIO_InitStruct.Pin = USER_Button_Pin;
  GPIO_InitStruct.Mode = GPIO_MODE_INPUT;
  GPIO_InitStruct.Pull = GPIO_NOPULL;
  HAL_GPIO_Init(USER_Button_GPIO_Port, &GPIO_InitStruct);

  /*Configure GPIO pins : LED_RED_Pin LED_GREEN_Pin Mems_VL53_xshut_Pin */
  GPIO_InitStruct.Pin = LED_RED_Pin|LED_GREEN_Pin|Mems_VL53_xshut_Pin;
  GPIO_InitStruct.Mode = GPIO_MODE_OUTPUT_PP;
  GPIO_InitStruct.Pull = GPIO_NOPULL;
  GPIO_InitStruct.Speed = GPIO_SPEED_FREQ_LOW;
  HAL_GPIO_Init(GPIOH, &GPIO_InitStruct);

  /*Configure GPIO pin : MIC_CCK1_Pin */
  GPIO_InitStruct.Pin = MIC_CCK1_Pin;
  GPIO_InitStruct.Mode = GPIO_MODE_AF_PP;
  GPIO_InitStruct.Pull = GPIO_NOPULL;
  GPIO_InitStruct.Speed = GPIO_SPEED_FREQ_LOW;
  GPIO_InitStruct.Alternate = GPIO_AF6_MDF1;
  HAL_GPIO_Init(MIC_CCK1_GPIO_Port, &GPIO_InitStruct);

  /*Configure GPIO pin : WRLS_WKUP_B_Pin */
  GPIO_InitStruct.Pin = WRLS_WKUP_B_Pin;
  GPIO_InitStruct.Mode = GPIO_MODE_OUTPUT_PP;
  GPIO_InitStruct.Pull = GPIO_NOPULL;
  GPIO_InitStruct.Speed = GPIO_SPEED_FREQ_LOW;
  HAL_GPIO_Init(WRLS_WKUP_B_GPIO_Port, &GPIO_InitStruct);

  /*Configure GPIO pins : WRLS_NOTIFY_Pin Mems_INT_IIS2MDC_Pin USB_IANA_Pin */
  GPIO_InitStruct.Pin = WRLS_NOTIFY_Pin|Mems_INT_IIS2MDC_Pin|USB_IANA_Pin;
  GPIO_InitStruct.Mode = GPIO_MODE_INPUT;
  GPIO_InitStruct.Pull = GPIO_NOPULL;
  HAL_GPIO_Init(GPIOD, &GPIO_InitStruct);

  /*Configure GPIO pins : USB_UCPD_FLT_Pin Mems_ISM330DLC_INT1_Pin */
  GPIO_InitStruct.Pin = USB_UCPD_FLT_Pin|Mems_ISM330DLC_INT1_Pin;
  GPIO_InitStruct.Mode = GPIO_MODE_INPUT;
  GPIO_InitStruct.Pull = GPIO_NOPULL;
  HAL_GPIO_Init(GPIOE, &GPIO_InitStruct);

  /*Configure GPIO pin : USB_VBUS_SENSE_Pin */
  GPIO_InitStruct.Pin = USB_VBUS_SENSE_Pin;
  GPIO_InitStruct.Mode = GPIO_MODE_INPUT;
  GPIO_InitStruct.Pull = GPIO_NOPULL;
  HAL_GPIO_Init(USB_VBUS_SENSE_GPIO_Port, &GPIO_InitStruct);

  /*Configure GPIO pins : Mems_STSAFE_RESET_Pin WRLS_WKUP_W_Pin */
  GPIO_InitStruct.Pin = Mems_STSAFE_RESET_Pin|WRLS_WKUP_W_Pin;
  GPIO_InitStruct.Mode = GPIO_MODE_OUTPUT_PP;
  GPIO_InitStruct.Pull = GPIO_NOPULL;
  GPIO_InitStruct.Speed = GPIO_SPEED_FREQ_LOW;
  HAL_GPIO_Init(GPIOF, &GPIO_InitStruct);

  /*Configure GPIO pin : MIC_SDIN0_Pin */
  GPIO_InitStruct.Pin = MIC_SDIN0_Pin;
  GPIO_InitStruct.Mode = GPIO_MODE_AF_PP;
  GPIO_InitStruct.Pull = GPIO_NOPULL;
  GPIO_InitStruct.Speed = GPIO_SPEED_FREQ_LOW;
  GPIO_InitStruct.Alternate = GPIO_AF6_MDF1;
  HAL_GPIO_Init(MIC_SDIN0_GPIO_Port, &GPIO_InitStruct);

}

/* USER CODE BEGIN 4 */

/**
  * @brief  Send a CAN FD message
  * @param  id: CAN identifier
  * @param  data: pointer to data buffer
  * @param  length: data length (1-64 bytes for CAN FD)
  * @retval None
  */
void FDCAN_Send_Message(uint32_t id, uint8_t *data, uint32_t length)
{
  HAL_StatusTypeDef status;

  // Prepare transmission header
  TxHeader.Identifier = id;
  TxHeader.IdType = FDCAN_STANDARD_ID;
  TxHeader.TxFrameType = FDCAN_DATA_FRAME;

  // Convert length to proper FDCAN DLC format
  switch(length)
  {
    case 0: TxHeader.DataLength = FDCAN_DLC_BYTES_0; break;
    case 1: TxHeader.DataLength = FDCAN_DLC_BYTES_1; break;
    case 2: TxHeader.DataLength = FDCAN_DLC_BYTES_2; break;
    case 3: TxHeader.DataLength = FDCAN_DLC_BYTES_3; break;
    case 4: TxHeader.DataLength = FDCAN_DLC_BYTES_4; break;
    case 5: TxHeader.DataLength = FDCAN_DLC_BYTES_5; break;
    case 6: TxHeader.DataLength = FDCAN_DLC_BYTES_6; break;
    case 7: TxHeader.DataLength = FDCAN_DLC_BYTES_7; break;
    case 8: TxHeader.DataLength = FDCAN_DLC_BYTES_8; break;
    case 12: TxHeader.DataLength = FDCAN_DLC_BYTES_12; break;
    case 16: TxHeader.DataLength = FDCAN_DLC_BYTES_16; break;
    case 20: TxHeader.DataLength = FDCAN_DLC_BYTES_20; break;
    case 24: TxHeader.DataLength = FDCAN_DLC_BYTES_24; break;
    case 32: TxHeader.DataLength = FDCAN_DLC_BYTES_32; break;
    case 48: TxHeader.DataLength = FDCAN_DLC_BYTES_48; break;
    case 64: TxHeader.DataLength = FDCAN_DLC_BYTES_64; break;
    default: TxHeader.DataLength = FDCAN_DLC_BYTES_8; break; // Default to 8 bytes
  }

  TxHeader.ErrorStateIndicator = FDCAN_ESI_ACTIVE;
  TxHeader.BitRateSwitch = FDCAN_BRS_ON;
  TxHeader.FDFormat = FDCAN_FD_CAN;
  TxHeader.TxEventFifoControl = FDCAN_NO_TX_EVENTS;
  TxHeader.MessageMarker = 0;

  // Send the message
  status = HAL_FDCAN_AddMessageToTxFifoQ(&hfdcan1, &TxHeader, data);

  // Visual feedback for debugging
  if (status == HAL_OK)
  {
    // Quick green flash for successful send
    HAL_GPIO_WritePin(LED_GREEN_GPIO_Port, LED_GREEN_Pin, GPIO_PIN_SET);
    HAL_Delay(10);
    HAL_GPIO_WritePin(LED_GREEN_GPIO_Port, LED_GREEN_Pin, GPIO_PIN_RESET);
  }
  else
  {
    // Red flash for error
    HAL_GPIO_WritePin(LED_RED_GPIO_Port, LED_RED_Pin, GPIO_PIN_SET);
    HAL_Delay(50);
    HAL_GPIO_WritePin(LED_RED_GPIO_Port, LED_RED_Pin, GPIO_PIN_RESET);
  }
}

/**
  * @brief  Process received CAN FD message
  * @param  None
  * @retval None
  */
void FDCAN_Receive_Message(void)
{
  // Get the message from FIFO0
  if (HAL_FDCAN_GetRxMessage(&hfdcan1, FDCAN_RX_FIFO0, &RxHeader, RxData_From_Node2) == HAL_OK)
  {
    // Process the received message
    // You can add your own message processing logic here

    // Example: Simple echo of received data (for debugging)
    // Uncomment the following lines to echo back received messages
    /*
    uint32_t dataLength = RxHeader.DataLength >> 16; // Convert from FDCAN_DLC format
    FDCAN_Send_Message(0x321, RxData_From_Node2, dataLength);
    */
  }
}

/**
  * @brief  Send a specific test pattern for oscilloscope verification
  * @param  None
  * @retval None
  */
void FDCAN_Send_Test_Pattern(void)
{
  // Distinctive test pattern that's easy to see on oscilloscope
  uint8_t testPattern[] = {0xAA, 0x55, 0xFF, 0x00, 0xF0, 0x0F, 0xCC, 0x33};
  FDCAN_Send_Simple_CAN(0x7FF, testPattern, 8);  // Use simple CAN first for testing
}

/**
  * @brief  Send a simple CAN message (not CAN FD)
  * @param  id: CAN identifier
  * @param  data: pointer to data buffer
  * @param  length: data length (max 8 bytes for classic CAN)
  * @retval None
  */
void FDCAN_Send_Simple_CAN(uint32_t id, uint8_t *data, uint32_t length)
{
  HAL_StatusTypeDef status;

  // Limit to classic CAN maximum
  if (length > 8) length = 8;

  // Prepare transmission header for classic CAN
  TxHeader.Identifier = id;
  TxHeader.IdType = FDCAN_STANDARD_ID;
  TxHeader.TxFrameType = FDCAN_DATA_FRAME;
  TxHeader.DataLength = length << 16; // For classic CAN this should work
  TxHeader.ErrorStateIndicator = FDCAN_ESI_ACTIVE;
  TxHeader.BitRateSwitch = FDCAN_BRS_OFF;    // No bit rate switch
  TxHeader.FDFormat = FDCAN_CLASSIC_CAN;     // Classic CAN format
  TxHeader.TxEventFifoControl = FDCAN_NO_TX_EVENTS;
  TxHeader.MessageMarker = 0;

  // Send the message
  status = HAL_FDCAN_AddMessageToTxFifoQ(&hfdcan1, &TxHeader, data);

  // Visual feedback for debugging - very brief
  if (status == HAL_OK)
  {
    // Quick green flash for successful send
    HAL_GPIO_WritePin(LED_GREEN_GPIO_Port, LED_GREEN_Pin, GPIO_PIN_SET);
    HAL_Delay(5);
    HAL_GPIO_WritePin(LED_GREEN_GPIO_Port, LED_GREEN_Pin, GPIO_PIN_RESET);
  }
  else
  {
    // Red flash for error
    HAL_GPIO_WritePin(LED_RED_GPIO_Port, LED_RED_Pin, GPIO_PIN_SET);
    HAL_Delay(25);
    HAL_GPIO_WritePin(LED_RED_GPIO_Port, LED_RED_Pin, GPIO_PIN_RESET);
  }
}

/**
  * @brief  Diagnostic test for CAN hardware
  * @param  None
  * @retval None
  */
void FDCAN_Diagnostic_Test(void)
{
  // Check if FDCAN is started and ready
  uint32_t psr = hfdcan1.Instance->PSR;

  // Flash LEDs based on FDCAN status
  if (psr & FDCAN_PSR_BO)  // Bus Off
  {
    // Red LED pattern: Bus Off error (5 fast blinks)
    for(int i = 0; i < 5; i++)
    {
      HAL_GPIO_WritePin(LED_RED_GPIO_Port, LED_RED_Pin, GPIO_PIN_SET);
      HAL_Delay(100);
      HAL_GPIO_WritePin(LED_RED_GPIO_Port, LED_RED_Pin, GPIO_PIN_RESET);
      HAL_Delay(100);
    }
  }
  else if (psr & FDCAN_PSR_EP)  // Error Passive
  {
    // Red LED pattern: Error Passive (3 slow blinks)
    for(int i = 0; i < 3; i++)
    {
      HAL_GPIO_WritePin(LED_RED_GPIO_Port, LED_RED_Pin, GPIO_PIN_SET);
      HAL_Delay(200);
      HAL_GPIO_WritePin(LED_RED_GPIO_Port, LED_RED_Pin, GPIO_PIN_RESET);
      HAL_Delay(200);
    }
  }
  else
  {
    // Green LED: CAN seems OK
    HAL_GPIO_WritePin(LED_GREEN_GPIO_Port, LED_GREEN_Pin, GPIO_PIN_SET);
    HAL_Delay(500);
    HAL_GPIO_WritePin(LED_GREEN_GPIO_Port, LED_GREEN_Pin, GPIO_PIN_RESET);
  }
}

/**
  * @brief  FDCAN RX FIFO 0 callback
  * @param  hfdcan: pointer to an FDCAN_HandleTypeDef structure
  * @param  RxFifo0ITs: indicates which RX FIFO 0 interrupts are signaled
  * @retval None
  */
void HAL_FDCAN_RxFifo0Callback(FDCAN_HandleTypeDef *hfdcan, uint32_t RxFifo0ITs)
{
  if ((RxFifo0ITs & FDCAN_IT_RX_FIFO0_NEW_MESSAGE) != 0)
  {
    // Set the flag to process message in main loop
    rxComplete = 1;
  }
}

/* USER CODE END 4 */

void Error_Handler(void)
{
  /* USER CODE BEGIN Error_Handler_Debug */
  /* User can add his own implementation to report the HAL error return state */
  /*__disable_irq();
  while (1)
  {
	  HAL_GPIO_TogglePin(LED_RED_GPIO_Port, LED_RED_Pin);
	  HAL_Delay(100);
  }*/
  /* USER CODE END Error_Handler_Debug */
}
